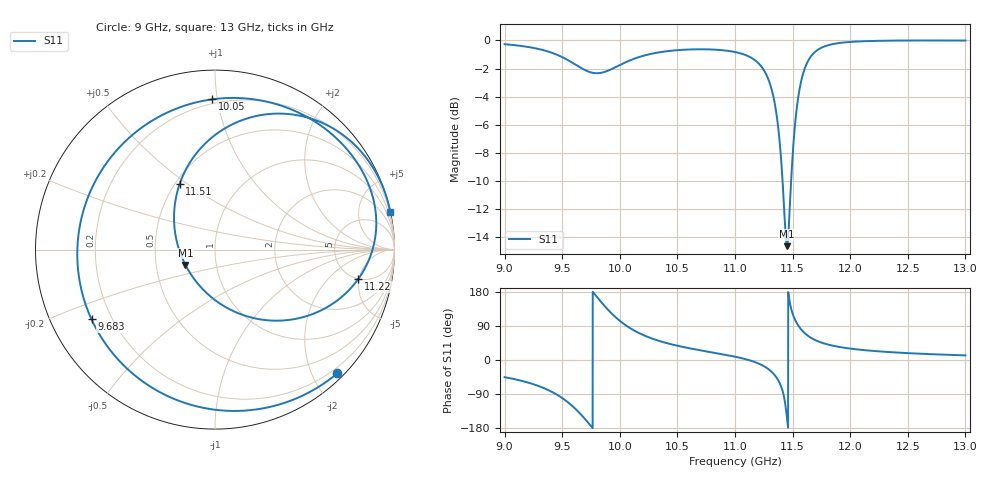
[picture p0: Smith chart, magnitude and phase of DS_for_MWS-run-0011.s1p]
! TOUCHSTONE file generated by CST DESIGN STUDIO
! Date and time: Tue Feb  4 18:41:49 2025
! Project name: C:\Work\MatlabApps\UnitCellOptimizationMatlab\CST\unitcell.cst
! Tree item: Tasks\Sweep1\SPara1\S-Parameters
! Header version: 2024
! Port assignment regex: !\s*Touchstone port\s*([0-9]+)\s*=\s*(CST MWS port|CST DES external port|CST DES block port)\s*(.+)\s* \(\"(.*)\"\)(\s*mode\s*([0-9]+))?.*
! Touchstone port assignment:
! Touchstone port 1 = CST DES external port 1 ("")
# GHz S MA R 50
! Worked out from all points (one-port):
!   4001 points, 9 GHz to 13 GHz, reference 50 ohm
!   lowest |S11| = -14.6 dB at 11.45 GHz (marker M1), VSWR 1.46, Z = 35.4 - j6.32 ohm
!   |S11| at or under -10 dB: 11.41 GHz to 11.49 GHz (74.06 MHz wide, 0.647 % of centre)
!   S11 on the Smith chart (normalised r, x): 9 GHz: 0.10, -2.39; 9.683 GHz: 0.13, -0.26; 10.05 GHz: 0.17, +0.97; 11.22 GHz: 4.98, -4.85; 11.51 GHz: 0.53, +0.47; 13 GHz: 0.06, +9.35
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9  0.9695 -45.3
9.275  0.936 -66.5
9.5  0.8721 -100.4
9.593  0.8308 -122.8
9.683  0.7901 -150.6
9.751  0.7693 -174.9
9.818  0.7649 160.3
9.91  0.7843 128.7
10  0.8172 103.4
10.054  0.8373 91.2
10.254  0.8924 59.6
10.5  0.9232 37.7
11  0.9092 8.8
11.221  0.8148 -11.6
11.303  0.7022 -27.2
11.371  0.5067 -51.3
11.412  0.3213 -80.4
11.451  0.1856 -152.3
11.467  0.2178 168.0
11.5  0.3887 122.4
11.505  0.4167 118.1
11.558  0.6627 87.1
11.62  0.8224 67.0
11.686  0.9031 54.1
11.764  0.9474 44.6
12  0.9874 30.1
12.5  0.9992 18.1
13  0.9987 12.2
